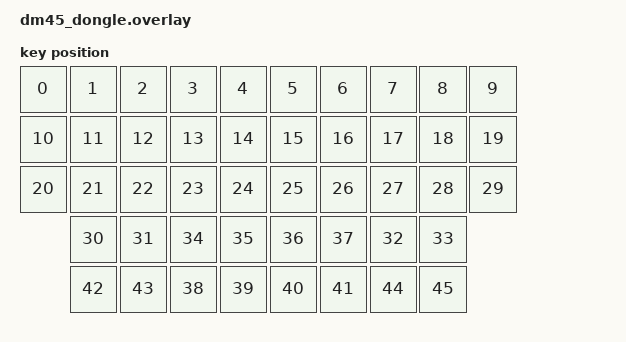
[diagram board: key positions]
/*
 * Copyright (c) 2024 The ZMK Contributors
 *
 * SPDX-License-Identifier: MIT
 *
 * DM45 BLE central dongle — nice!nano v2 (Pro Micro footprint).
 *
 * Includes dm45.dtsi to inherit the default_transform, then overrides
 * only zmk,kscan with a mock kscan (no physical matrix on the dongle).
 * This is the exact same pattern used by zmk-solfe-dongle.
 *
 * NOTE: physical-layouts block is REQUIRED because ZMK_USB selects
 * ZMK_STUDIO on central builds — the .conf =n cannot override a Kconfig
 * select, so physical_layouts.c is always compiled and needs a valid
 * zmk,physical-layout reference to link.
 */

#include <physical_layouts.dtsi>

#include "dm45.dtsi"

/ {
    chosen {
        zmk,kscan = &mock_kscan;
        zmk,physical-layout = &default_layout;
    };

    mock_kscan: mock_kscan {
        compatible = "zmk,kscan-mock";
        columns = <0>;
        rows = <0>;
        events = <0>;
    };

    /* ------------------------------------------------------------------ *
     * Physical layout — 46 keys matching the default_transform map.       *
     * Required by ZMK Studio (physical_layouts.c) which is force-enabled  *
     * via ZMK_USB select in ZMK v0.3.0.                                   *
     * ------------------------------------------------------------------ */
    physical-layouts {
        compatible = "zmk,physical-layouts";

        default_layout: default_layout {
            compatible = "zmk,physical-layout";
            display-name = "Default Layout";
            transform = <&default_transform>;
            kscan = <&mock_kscan>;

            keys
                // Row 0 — top alpha
                = <&key_physical_attrs 100 100    0    0 0 0 0>  // RC(0,0) Q
                , <&key_physical_attrs 100 100  100    0 0 0 0>  // RC(0,1) W
                , <&key_physical_attrs 100 100  200    0 0 0 0>  // RC(0,2) E
                , <&key_physical_attrs 100 100  300    0 0 0 0>  // RC(0,3) R
                , <&key_physical_attrs 100 100  400    0 0 0 0>  // RC(0,4) T
                , <&key_physical_attrs 100 100  500    0 0 0 0>  // RC(0,5) Y
                , <&key_physical_attrs 100 100  600    0 0 0 0>  // RC(0,6) U
                , <&key_physical_attrs 100 100  700    0 0 0 0>  // RC(0,7) I
                , <&key_physical_attrs 100 100  800    0 0 0 0>  // RC(0,8) O
                , <&key_physical_attrs 100 100  900    0 0 0 0>  // RC(0,9) P

                // Row 1 — home row
                , <&key_physical_attrs 100 100    0  100 0 0 0>  // RC(1,0) A
                , <&key_physical_attrs 100 100  100  100 0 0 0>  // RC(1,1) S
                , <&key_physical_attrs 100 100  200  100 0 0 0>  // RC(1,2) D
                , <&key_physical_attrs 100 100  300  100 0 0 0>  // RC(1,3) F
                , <&key_physical_attrs 100 100  400  100 0 0 0>  // RC(1,4) G
                , <&key_physical_attrs 100 100  500  100 0 0 0>  // RC(1,5) H
                , <&key_physical_attrs 100 100  600  100 0 0 0>  // RC(1,6) J
                , <&key_physical_attrs 100 100  700  100 0 0 0>  // RC(1,7) K
                , <&key_physical_attrs 100 100  800  100 0 0 0>  // RC(1,8) L
                , <&key_physical_attrs 100 100  900  100 0 0 0>  // RC(1,9) ;

                // Row 2 — bottom alpha
                , <&key_physical_attrs 100 100    0  200 0 0 0>  // RC(2,0) Z
                , <&key_physical_attrs 100 100  100  200 0 0 0>  // RC(2,1) X
                , <&key_physical_attrs 100 100  200  200 0 0 0>  // RC(2,2) C
                , <&key_physical_attrs 100 100  300  200 0 0 0>  // RC(2,3) V
                , <&key_physical_attrs 100 100  400  200 0 0 0>  // RC(2,4) B
                , <&key_physical_attrs 100 100  500  200 0 0 0>  // RC(2,5) N
                , <&key_physical_attrs 100 100  600  200 0 0 0>  // RC(2,6) M
                , <&key_physical_attrs 100 100  700  200 0 0 0>  // RC(2,7) ,
                , <&key_physical_attrs 100 100  800  200 0 0 0>  // RC(2,8) .
                , <&key_physical_attrs 100 100  900  200 0 0 0>  // RC(2,9) /

                // Row 3 — inner column keys
                , <&key_physical_attrs 100 100  100  300 0 0 0>  // RC(3,1) [
                , <&key_physical_attrs 100 100  200  300 0 0 0>  // RC(3,2) ]
                , <&key_physical_attrs 100 100  700  300 0 0 0>  // RC(3,7) +
                , <&key_physical_attrs 100 100  800  300 0 0 0>  // RC(3,8) =

                // Row 3 (cont.) — thumb top
                , <&key_physical_attrs 100 100  300  300 0 0 0>  // RC(3,3) RAISE/TAB
                , <&key_physical_attrs 100 100  400  300 0 0 0>  // RC(3,4) SPACE
                , <&key_physical_attrs 100 100  500  300 0 0 0>  // RC(3,5) RET
                , <&key_physical_attrs 100 100  600  300 0 0 0>  // RC(3,6) LOWER/ESC

                // Row 4 — thumb bottom
                , <&key_physical_attrs 100 100  300  400 0 0 0>  // RC(4,3) TAB
                , <&key_physical_attrs 100 100  400  400 0 0 0>  // RC(4,4) HOME
                , <&key_physical_attrs 100 100  500  400 0 0 0>  // RC(4,7) END
                , <&key_physical_attrs 100 100  600  400 0 0 0>  // RC(4,8) DEL

                // Row 4 (cont.) — inner low
                , <&key_physical_attrs 100 100  100  400 0 0 0>  // RC(4,1) BSPC
                , <&key_physical_attrs 100 100  200  400 0 0 0>  // RC(4,2) `
                , <&key_physical_attrs 100 100  700  400 0 0 0>  // RC(4,5) LGUI
                , <&key_physical_attrs 100 100  800  400 0 0 0>  // RC(4,6) LALT
                ;
        };
    };
};
